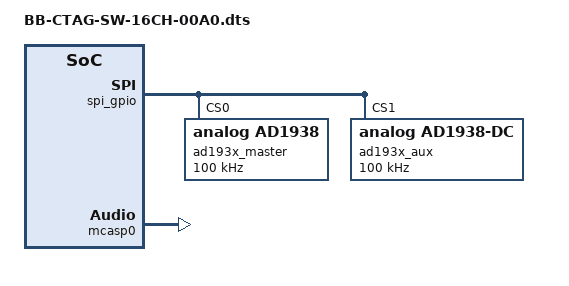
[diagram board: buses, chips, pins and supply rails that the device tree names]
/*
 * Device Tree Overlay for CTAG face2|4 multichannel soundcard - 8 audio channels
 *
 * Author: Henrik Langer <henni19790@googlemail.com>
 *
 * This program is free software; you can redistribute it and/or modify
 * it under the terms of the GNU General Public License version 3 as
 * published by the Free Software Foundation.
 */
/dts-v1/;
/plugin/;

/ {
	compatible = "ti,beaglebone", "ti,beaglebone-black", "ti,beaglebone-green";

	/* identification */
	part-number = "BB-CTAG-SW-16CH";
	version = "00A0", "A0";

	/* state the resources this cape uses */
	exclusive-use =
		/* audio */
		"P9.30",	/* mcasp0_axr0 		audio in */
		"P9.28",	/* mcasp0_axr2 		audio out */
		"P9.31",	/* mcasp0_ahclkx	transmit bitclock */
		"P9.29",	/* mcasp0_fsx 		transmit frameclock */
		"P9.12",	/* mcasp0_aclkr		receive bitclock */
		"P9.27",	/* mcasp0_fsr		receive frameclock */
		"P9.25",	/* mcasp0_ahclkx 	masterclock */
		/* spi */
		"P8.32",	/* spi_sclk */
		"P8.33",	/* spi_mosi */
		"P8.14",	/* spi_miso */
		"P8.17",	/* spi_cs0 */
		"P8.31",	/* spi_cs1 */
		/* the hardware ip uses */
		"mcasp0", "spi_gpio";

	fragment@0 {
		target = <&am33xx_pinmux>;
		__overlay__ {
			mcasp0_pins: pinmix_mcasp0_pins {
				pinctrl-single,pins = <
					0x1ac 0x20		/* mcasp0_ahclkx,	MODE0 | INPUT_PULLDOWN | P9_25 */
					0x19c 0x02		/* mcasp0_axr2,		MODE2 | OUTPUT_PULLDOWN | P9_28 */
					0x194 0x20		/* mcasp0_fsx, 		MODE0 | INPUT_PULLDOWN | P9_29 */
					0x190 0x20		/* mcasp0_aclkx, 	MODE0 | INPUT_PULLDOWN | P9_31 */
					0x1a4 0x20		/* mcasp0_fsr,		MODE0 | INPUT_PULLDOWN | P9_27 */
					0x078 0x26		/* mcasp0_aclkr,	MODE6 | INPUT_PULLDOWN | P9_12 */
					0x198 0x20		/* mcasp0_axr0, 	MODE0 | INPUT_PULLDOWN | P9_30 */
				>;
			};

			audiocard_spi_pins: pinmux_audiocard_spi_pins { 
				pinctrl-single,pins = <
					0x0DC 0x37		/* spi_sclk, 	MODE7 | INPUT_PULLUP | SPI_SCLK P8_32 */
                    0x028 0x37		/* spi_miso, 	MODE7 | INPUT_PULLUP | SPI_MISO P8_14 */
                    0x0D4 0x17		/* spi_mosi, 	MODE7 | OUTPUT_PULLUP | SPI_MOSI P8_33 */
                    0x02C 0x17		/* spi_cs0, 	MODE7 | OUTPUT_PULLUP | SPI_CS0 P8_17 */
					0x0D8 0x17		/* spi_cs1,		MODE7 | OUTPUT_PULLUP | SPI_CS1 P8_31 */
				>;
			};
		};
	};

	fragment@1 {
		target = <&spi_gpio>;
		__overlay__ {
			pinctrl-names = "default";
			pinctrl-0 = <&audiocard_spi_pins>;
			status = "okay";

			/* avoid dtc warnings */
			#address-cells = <1>;
			#size-cells = <0>;

			ad193x_master: ad193x@0{
				#address-cells = <1>;
				#size-cells = <0>;

				compatible = "analog,ad1938";

				reg = <0>; //corresponds to cs
				spi-max-frequency = <100000>;
			};

			ad193x_aux: ad193x@1{
				#address-cells = <1>;
				#size-cells = <0>;

				compatible = "analog,ad1938-dc";

				reg = <1>;
				spi-max-frequency = <100000>;
			};
		};
	};

	fragment@2 {
		target = <&mcasp0>;
		__overlay__ {
			pinctrl-names = "default";
			pinctrl-0 = <&mcasp0_pins>;

			status = "okay";

			op-mode = <0>;	/* MCASP_IIS_MODE */
			tdm-slots = <16>;
			num-serializer = <16>;
			serial-dir = <  /* 0: INACTIVE, 1: TX, 2: RX */
				2 0 1 0
				0 0 0 0
				0 0 0 0
				0 0 0 0
			>;
			tx-num-evt = <1>;
			rx-num-evt = <1>;
		};
	};

	fragment@3 {
		target = <&ocp>;
		__overlay__ {

			sound {
				compatible = "ctag,face-2-4";
				model = "CTAG face-2-4 16CH";
				audio-codec = <&ad193x_master>;
				audio-codec-aux = <&ad193x_aux>;
				mcasp-controller = <&mcasp0>;
				audiocard-tdm-slots = <16>;
				codec-clock-rate = <24576000>;
				cpu-clock-rate = <24576000>;
				audio-codec-bit-delay-dac = <1>; //currently only supports 1 or 0 bit delay
				audio-codec-bit-delay-adc = <1>;
				audio-codec-aux-bit-delay-dac = <1>;
				audio-codec-aux-bit-delay-adc = <1>;
				mcasp-controller-bit-delay-tx = <1>;
				mcasp-controller-bit-delay-rx = <1>;
				bb-device = <0>; //BBB/BBG
				audio-routing =
					"Line Out",             "DAC1OUT",
					"Line Out",             "DAC2OUT",
					"Line Out",             "DAC3OUT",
					"Line Out",             "DAC4OUT",
					//"Line Out",             "DAC5OUT",
					//"Line Out",             "DAC6OUT",
					//"Line Out",             "DAC7OUT",
					//"Line Out",             "DAC8OUT",
					"ADC1IN",               "Line In",
					"ADC2IN",               "Line In",
					"ADC3IN",               "Line In",
					"ADC4IN",               "Line In";
			};
		};
	};
};
